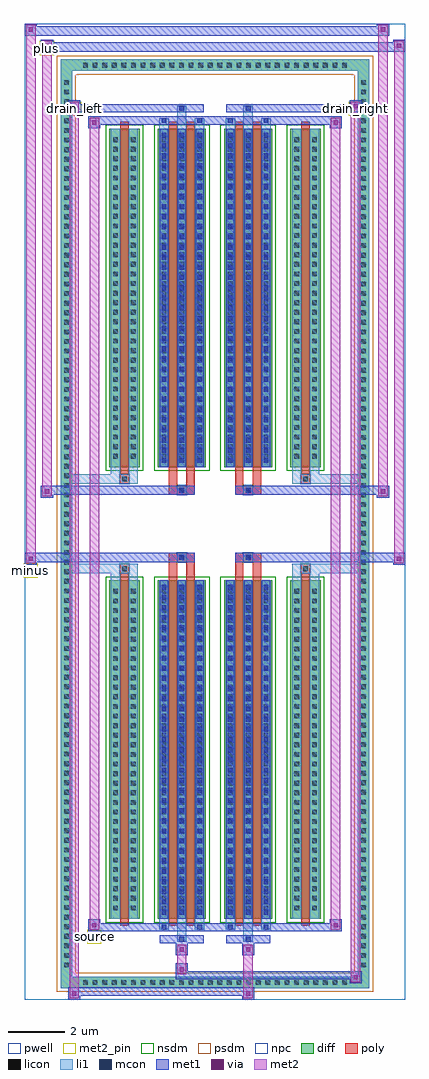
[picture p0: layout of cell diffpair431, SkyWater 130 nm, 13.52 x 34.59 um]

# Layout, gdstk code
import gdstk
lib = gdstk.Library(unit=1e-6, precision=5e-09)
def R(c, l, rs):  # rectangles x0, y0, x1, y1
    for r in rs: c.add(gdstk.rectangle(r[:2], r[2:], *l))
def A(c, l, x, y, w, h, nx, ny, dx, dy):  # array of equal rectangles
    R(c, l, [(x+i*dx, y+j*dy, x+i*dx+w, y+j*dy+h) for i in range(nx) for j in range(ny)])
def P(c, l, *ps):  # polygons
    for p in ps: c.add(gdstk.Polygon(p, *l))
pwell = (64, 44)
diff = (65, 20)
poly = (66, 20)
licon = (66, 44)
li1 = (67, 20)
mcon = (67, 44)
met1 = (68, 20)
via = (68, 44)
met2_pin = (69, 16)
met2 = (69, 20)
nsdm = (93, 44)
psdm = (94, 20)
npc = (95, 20)

diffpair431 = lib.new_cell('diffpair431')
R(diffpair431, pwell, [(-6.74,-16.86,6.74,17.73), (-4.06,-15.05,-0.01,-0.825), (0.01,-15.05,4.06,-0.825), (-4.06,0.825,-0.01,15.05), (0.01,0.825,4.06,15.05)])
A(diffpair431, diff, -4.795, -16.46, 0.41, 0.41, 28, 2, 0.34, 32.51)
A(diffpair431, diff, -5.47, -15.845, 0.41, 0.41, 1, 93, 0, 0.34)
A(diffpair431, diff, 5.06, -15.845, 0.41, 0.41, 1, 93, 0, 0.34)
R(diffpair431, diff, [(-4.795,-16.46,4.795,-16.05), (-5.47,-15.845,-5.06,15.845), (5.06,-15.845,5.47,15.845), (-3.75,-14.005,-2.67,-2.005), (-2.03,-14.005,-0.32,-2.005), (0.32,-14.005,2.03,-2.005), (2.67,-14.005,3.75,-2.005), (-3.75,2.005,-2.67,14.005), (-2.03,2.005,-0.32,14.005), (0.32,2.005,2.03,14.005), (2.67,2.005,3.75,14.005), (-4.795,16.05,4.795,16.46)])
P(diffpair431, diff, [(5.47,16.46),(-5.47,16.46),(-5.47,-16.05),(-5.06,-16.05),(-5.06,16.05),(5.06,16.05),(5.06,-16.05),(-5.06,-16.05),(-5.47,-16.05),(-5.47,-16.46),(5.47,-16.46)])
R(diffpair431, poly, [(-3.36,-14.255,-3.06,-1.755), (-1.64,-14.255,-1.34,-1.755), (-1.01,-14.255,-0.71,-1.755), (0.71,-14.255,1.01,-1.755), (1.34,-14.255,1.64,-1.755), (3.06,-14.255,3.36,-1.755), (-3.375,-1.755,-3.045,-1.425), (-3.375,-1.755,-3.045,-1.425), (-1.64,-1.755,-1.34,-1.355), (-1.01,-1.755,-0.71,-1.355), (0.71,-1.755,1.01,-1.355), (1.34,-1.755,1.64,-1.355), (3.045,-1.755,3.375,-1.425), (3.045,-1.755,3.375,-1.425), (-1.64,-1.355,-0.71,-1.025), (-1.34,-1.355,-1.01,-1.025), (0.71,-1.355,1.64,-1.025), (1.01,-1.355,1.34,-1.025), (-1.64,1.025,-0.71,1.355), (-1.34,1.025,-1.01,1.355), (0.71,1.025,1.64,1.355), (1.01,1.025,1.34,1.355), (-1.64,1.355,-1.34,1.755), (-1.01,1.355,-0.71,1.755), (0.71,1.355,1.01,1.755), (1.34,1.355,1.64,1.755), (-3.375,1.425,-3.045,1.755), (-3.375,1.425,-3.045,1.755), (3.045,1.425,3.375,1.755), (3.045,1.425,3.375,1.755), (-3.36,1.755,-3.06,14.255), (-1.64,1.755,-1.34,14.255), (-1.01,1.755,-0.71,14.255), (0.71,1.755,1.01,14.255), (1.34,1.755,1.64,14.255), (3.06,1.755,3.36,14.255)])
A(diffpair431, licon, -4.675, -16.34, 0.17, 0.17, 28, 2, 0.34, 32.51)
A(diffpair431, licon, -5.35, -15.725, 0.17, 0.17, 1, 93, 0, 0.34)
A(diffpair431, licon, 5.18, -15.725, 0.17, 0.17, 1, 93, 0, 0.34)
A(diffpair431, licon, -3.61, -13.7, 0.17, 0.17, 1, 34, 0, 0.34)
A(diffpair431, licon, -2.98, -13.7, 0.17, 0.17, 1, 34, 0, 0.34)
A(diffpair431, licon, -1.89, -13.7, 0.17, 0.17, 3, 34, 0.63, 0.34)
A(diffpair431, licon, 0.46, -13.7, 0.17, 0.17, 3, 34, 0.63, 0.34)
A(diffpair431, licon, 2.81, -13.7, 0.17, 0.17, 1, 34, 0, 0.34)
A(diffpair431, licon, 3.44, -13.7, 0.17, 0.17, 1, 34, 0, 0.34)
A(diffpair431, licon, -3.61, 2.31, 0.17, 0.17, 1, 34, 0, 0.34)
A(diffpair431, licon, -2.98, 2.31, 0.17, 0.17, 1, 34, 0, 0.34)
A(diffpair431, licon, -1.89, 2.31, 0.17, 0.17, 3, 34, 0.63, 0.34)
A(diffpair431, licon, 0.46, 2.31, 0.17, 0.17, 3, 34, 0.63, 0.34)
A(diffpair431, licon, 2.81, 2.31, 0.17, 0.17, 1, 34, 0, 0.34)
A(diffpair431, licon, 3.44, 2.31, 0.17, 0.17, 1, 34, 0, 0.34)
R(diffpair431, licon, [(-3.295,-1.675,-3.125,-1.505), (3.125,-1.675,3.295,-1.505), (-1.26,-1.275,-1.09,-1.105), (1.09,-1.275,1.26,-1.105), (-1.26,1.105,-1.09,1.275), (1.09,1.105,1.26,1.275), (-3.295,1.505,-3.125,1.675), (3.125,1.505,3.295,1.675)])
A(diffpair431, li1, -4.755, -16.42, 0.33, 0.33, 28, 2, 0.34, 32.51)
A(diffpair431, li1, -5.43, -15.805, 0.33, 0.33, 1, 93, 0, 0.34)
A(diffpair431, li1, 5.1, -15.805, 0.33, 0.33, 1, 93, 0, 0.34)
A(diffpair431, li1, -1.97, -14.005, 0.33, 12, 3, 2, 0.63, 16.01)
A(diffpair431, li1, 0.38, -14.005, 0.33, 12, 3, 2, 0.63, 16.01)
A(diffpair431, li1, -1.89, -13.85, 0.17, 0.17, 3, 33, 0.63, 0.36)
A(diffpair431, li1, -1.89, -13.85, 0.17, 11.69, 3, 2, 0.63, 16.01)
A(diffpair431, li1, 0.46, -13.85, 0.17, 0.17, 3, 33, 0.63, 0.36)
A(diffpair431, li1, 0.46, -13.85, 0.17, 11.69, 3, 2, 0.63, 16.01)
A(diffpair431, li1, -3.69, -13.78, 0.33, 0.33, 1, 34, 0, 0.34)
A(diffpair431, li1, -3.06, -13.78, 0.33, 0.33, 1, 34, 0, 0.34)
A(diffpair431, li1, -1.97, -13.78, 0.33, 0.33, 3, 34, 0.63, 0.34)
A(diffpair431, li1, 0.38, -13.78, 0.33, 0.33, 3, 34, 0.63, 0.34)
A(diffpair431, li1, 2.73, -13.78, 0.33, 0.33, 1, 34, 0, 0.34)
A(diffpair431, li1, 3.36, -13.78, 0.33, 0.33, 1, 34, 0, 0.34)
A(diffpair431, li1, -1.89, 2.16, 0.17, 0.17, 3, 33, 0.63, 0.36)
A(diffpair431, li1, 0.46, 2.16, 0.17, 0.17, 3, 33, 0.63, 0.36)
A(diffpair431, li1, -3.69, 2.23, 0.33, 0.33, 1, 34, 0, 0.34)
A(diffpair431, li1, -3.06, 2.23, 0.33, 0.33, 1, 34, 0, 0.34)
A(diffpair431, li1, -1.97, 2.23, 0.33, 0.33, 3, 34, 0.63, 0.34)
A(diffpair431, li1, 0.38, 2.23, 0.33, 0.33, 3, 34, 0.63, 0.34)
A(diffpair431, li1, 2.73, 2.23, 0.33, 0.33, 1, 34, 0, 0.34)
A(diffpair431, li1, 3.36, 2.23, 0.33, 0.33, 1, 34, 0, 0.34)
R(diffpair431, li1, [(-5.47,-16.46,-5.06,-16.05), (-5.47,-16.46,-5.06,-16.05), (-5.06,-16.46,5.06,-16.05), (5.06,-16.46,5.47,-16.05), (5.06,-16.46,5.47,-16.05), (-5.47,-16.05,-5.06,16.05), (5.06,-16.05,5.47,16.05), (-1.34,-14.81,-1.01,-14.005), (-1.26,-14.81,-1.09,-14.64), (1.01,-14.81,1.34,-14.005), (1.09,-14.81,1.26,-14.64), (-1.97,-14.38,-1.64,-14.005), (-1.89,-14.38,-1.72,-14.21), (-0.71,-14.38,-0.38,-14.005), (-0.63,-14.38,-0.46,-14.21), (0.38,-14.38,0.71,-14.005), (0.46,-14.38,0.63,-14.21), (1.64,-14.38,1.97,-14.005), (1.72,-14.38,1.89,-14.21), (-3.69,-14.005,-3.36,-2.005), (-3.06,-14.005,-2.73,-2.005), (2.73,-14.005,3.06,-2.005), (3.36,-14.005,3.69,-2.005), (-3.69,-2.005,-3.36,-1.425), (-3.06,-2.005,-2.73,-1.425), (2.73,-2.005,3.06,-1.425), (3.36,-2.005,3.69,-1.425), (-5.47,-1.755,-3.375,-1.425), (-3.69,-1.755,-3.375,-1.425), (-3.375,-1.755,-3.045,-1.425), (-3.045,-1.755,-2.73,-1.425), (2.73,-1.755,3.045,-1.425), (3.045,-1.755,3.375,-1.425), (3.045,-1.755,5.47,-1.425), (3.375,-1.755,3.69,-1.425), (-1.34,-1.355,-1.01,-1.025), (1.01,-1.355,1.34,-1.025), (-1.34,1.025,-1.01,1.355), (1.01,1.025,1.34,1.355), (-5.47,1.425,-3.375,1.755), (-3.69,1.425,-3.375,1.755), (-3.69,1.425,-3.36,2.005), (-3.375,1.425,-3.045,1.755), (-3.06,1.425,-2.73,2.005), (-3.045,1.425,-2.73,1.755), (2.73,1.425,3.045,1.755), (2.73,1.425,3.06,2.005), (3.045,1.425,3.375,1.755), (3.045,1.425,5.47,1.755), (3.36,1.425,3.69,2.005), (3.375,1.425,3.69,1.755), (-3.69,2.005,-3.36,14.005), (-3.06,2.005,-2.73,14.005), (2.73,2.005,3.06,14.005), (3.36,2.005,3.69,14.005), (-1.97,14.005,-1.64,14.38), (-1.34,14.005,-1.01,14.81), (-0.71,14.005,-0.38,14.38), (0.38,14.005,0.71,14.38), (1.01,14.005,1.34,14.81), (1.64,14.005,1.97,14.38), (-1.89,14.21,-1.72,14.38), (-0.63,14.21,-0.46,14.38), (0.46,14.21,0.63,14.38), (1.72,14.21,1.89,14.38), (-1.26,14.64,-1.09,14.81), (1.09,14.64,1.26,14.81), (-5.47,16.05,-5.06,16.46), (-5.47,16.05,-5.06,16.46), (-5.06,16.05,5.06,16.46), (5.06,16.05,5.47,16.46), (5.06,16.05,5.47,16.46)])
A(diffpair431, mcon, -1.89, -13.85, 0.17, 0.17, 3, 33, 0.63, 0.36)
A(diffpair431, mcon, 0.46, -13.85, 0.17, 0.17, 3, 33, 0.63, 0.36)
A(diffpair431, mcon, -1.89, 2.16, 0.17, 0.17, 3, 33, 0.63, 0.36)
A(diffpair431, mcon, 0.46, 2.16, 0.17, 0.17, 3, 33, 0.63, 0.36)
R(diffpair431, mcon, [(-1.26,-14.81,-1.09,-14.64), (1.09,-14.81,1.26,-14.64), (-1.89,-14.38,-1.72,-14.21), (-0.63,-14.38,-0.46,-14.21), (0.46,-14.38,0.63,-14.21), (1.72,-14.38,1.89,-14.21), (-1.26,-1.275,-1.09,-1.105), (1.09,-1.275,1.26,-1.105), (-1.26,1.105,-1.09,1.275), (1.09,1.105,1.26,1.275), (-1.89,14.21,-1.72,14.38), (-0.63,14.21,-0.46,14.38), (0.46,14.21,0.63,14.38), (1.72,14.21,1.89,14.38), (-1.26,14.64,-1.09,14.81), (1.09,14.64,1.26,14.81)])
A(diffpair431, met1, -1.95, -14.005, 0.29, 12, 3, 2, 0.63, 16.01)
A(diffpair431, met1, 0.4, -14.005, 0.29, 12, 3, 2, 0.63, 16.01)
A(diffpair431, met1, -1.95, -13.91, 0.29, 0.29, 3, 33, 0.63, 0.36)
A(diffpair431, met1, 0.4, -13.91, 0.29, 0.29, 3, 33, 0.63, 0.36)
A(diffpair431, met1, -1.95, 2.1, 0.29, 0.29, 3, 33, 0.63, 0.36)
A(diffpair431, met1, 0.4, 2.1, 0.29, 0.29, 3, 33, 0.63, 0.36)
R(diffpair431, met1, [(-5.2,-16.86,-4.77,-16.43), (0.96,-16.86,1.39,-16.43), (-5.2,-16.72,1.39,-16.43), (4.77,-16.29,5.2,-15.86), (-1.39,-16.15,5.2,-15.86), (-1.39,-16.01,-0.96,-15.58), (-1.39,-15.3,-0.96,-14.87), (0.96,-15.3,1.39,-14.87), (-1.95,-14.87,-0.4,-14.58), (-1.32,-14.87,-1.03,-14.58), (0.4,-14.87,1.95,-14.58), (1.03,-14.87,1.32,-14.58), (-4.49,-14.44,-4.06,-14.01), (-4.49,-14.44,-1.95,-14.15), (-1.95,-14.44,-1.66,-14.15), (-1.95,-14.44,-0.4,-14.15), (-0.69,-14.44,-0.4,-14.15), (-0.4,-14.44,0.4,-14.15), (0.4,-14.44,0.69,-14.15), (0.4,-14.44,1.95,-14.15), (1.66,-14.44,1.95,-14.15), (1.95,-14.44,4.49,-14.15), (4.06,-14.44,4.49,-14.01), (-6.74,-1.455,-6.31,-1.025), (6.31,-1.455,6.74,-1.025), (-6.74,-1.355,-0.71,-1.025), (-1.64,-1.355,-0.71,-1.025), (0.71,-1.355,1.64,-1.025), (0.71,-1.355,6.74,-1.025), (-1.32,-1.335,-1.03,-1.045), (1.03,-1.335,1.32,-1.045), (-6.17,0.925,-5.74,1.355), (5.74,0.925,6.17,1.355), (-6.17,1.025,-1.64,1.355), (-1.64,1.025,-0.71,1.355), (0.71,1.025,1.64,1.355), (1.64,1.025,6.17,1.355), (-1.32,1.045,-1.03,1.335), (1.03,1.045,1.32,1.335), (-4.49,14.01,-4.06,14.44), (4.06,14.01,4.49,14.44), (-4.49,14.15,-1.95,14.44), (-1.95,14.15,-1.66,14.44), (-1.95,14.15,-0.4,14.44), (-0.69,14.15,-0.4,14.44), (-0.4,14.15,0.4,14.44), (0.4,14.15,0.69,14.44), (0.4,14.15,1.95,14.44), (1.66,14.15,1.95,14.44), (1.95,14.15,4.49,14.44), (-5.2,14.58,-4.77,15.01), (-5.2,14.58,-1.95,14.87), (-1.95,14.58,-0.4,14.87), (-1.32,14.58,-1.03,14.87), (0.4,14.58,1.95,14.87), (1.03,14.58,1.32,14.87), (1.95,14.58,5.2,14.87), (4.77,14.58,5.2,15.01), (-6.17,16.73,-5.74,17.16), (-6.17,16.73,-4.06,17.06), (-4.06,16.73,4.06,17.06), (4.06,16.73,6.74,17.06), (6.31,16.73,6.74,17.16), (-6.74,17.3,-6.31,17.73), (-6.74,17.3,-4.06,17.63), (-4.06,17.3,4.06,17.63), (4.06,17.3,6.17,17.63), (5.74,17.3,6.17,17.73)])
R(diffpair431, via, [(-5.06,-16.72,-4.91,-16.57), (1.1,-16.72,1.25,-16.57), (4.91,-16.15,5.06,-16), (-1.25,-15.87,-1.1,-15.72), (-1.25,-15.16,-1.1,-15.01), (1.1,-15.16,1.25,-15.01), (-4.35,-14.3,-4.2,-14.15), (4.2,-14.3,4.35,-14.15), (-6.6,-1.315,-6.45,-1.165), (6.45,-1.315,6.6,-1.165), (-6.03,1.065,-5.88,1.215), (5.88,1.065,6.03,1.215), (-4.35,14.15,-4.2,14.3), (4.2,14.15,4.35,14.3), (-5.06,14.72,-4.91,14.87), (4.91,14.72,5.06,14.87), (-6.03,16.87,-5.88,17.02), (6.45,16.87,6.6,17.02), (-6.6,17.44,-6.45,17.59), (5.88,17.44,6.03,17.59)])
R(diffpair431, met2_pin, [(-4.525,-14.89,-4.025,-14.39), (-6.775,-1.905,-6.275,-1.405), (-5.235,14.46,-4.735,14.96), (4.735,14.46,5.235,14.96), (-6.205,16.61,-5.705,17.11)])
R(diffpair431, met2, [(-5.15,-16.81,-4.82,-16.48), (-5.15,-16.81,-4.82,14.96), (1.01,-16.81,1.34,-16.48), (1.01,-16.48,1.34,-15.25), (4.82,-16.24,5.15,-15.91), (4.82,-16.24,5.15,14.96), (-1.34,-15.96,-1.01,-15.63), (-1.34,-15.63,-1.01,-15.25), (-1.34,-15.25,-1.01,-14.92), (1.01,-15.25,1.34,-14.92), (-4.44,-14.39,-4.11,-14.06), (-4.44,-14.39,-4.11,14.39), (4.11,-14.39,4.44,-14.06), (4.11,-14.39,4.44,14.39), (-6.69,-1.405,-6.36,-1.075), (-6.69,-1.405,-6.36,17.68), (6.36,-1.405,6.69,-1.075), (6.36,-1.405,6.69,17.11), (-6.12,0.975,-5.79,1.305), (-6.12,0.975,-5.79,17.11), (5.79,0.975,6.12,1.305), (5.79,0.975,6.12,17.68), (-4.44,14.06,-4.11,14.39), (4.11,14.06,4.44,14.39), (-5.15,14.63,-4.82,14.96), (4.82,14.63,5.15,14.96), (-6.12,16.78,-5.79,17.11), (6.36,16.78,6.69,17.11), (-6.69,17.35,-6.36,17.68), (5.79,17.35,6.12,17.68)])
P(diffpair431, met2, [(6.69,-1.405),(6.69,-1.405),(6.69,-1.075),(6.69,-1.075)],
  [(6.69,16.78),(6.69,16.78),(6.69,17.11),(6.69,17.11)],
  [(-6.36,-1.405),(-6.36,-1.405),(-6.36,-1.075),(-6.36,-1.075)],
  [(-6.36,17.35),(-6.36,17.35),(-6.36,17.68),(-6.36,17.68)],
  [(6.12,0.975),(6.12,0.975),(6.12,1.305),(6.12,1.305)],
  [(6.12,17.35),(6.12,17.35),(6.12,17.68),(6.12,17.68)],
  [(-5.79,0.975),(-5.79,0.975),(-5.79,1.305),(-5.79,1.305)],
  [(-5.79,16.78),(-5.79,16.78),(-5.79,17.11),(-5.79,17.11)],
  [(-4.82,-16.81),(-4.82,-16.81),(-4.82,-16.48),(-4.82,-16.48)],
  [(-4.82,14.63),(-4.82,14.63),(-4.82,14.96),(-4.82,14.96)],
  [(5.15,-16.24),(5.15,-16.24),(5.15,-15.91),(5.15,-15.91)],
  [(5.15,14.63),(5.15,14.63),(5.15,14.96),(5.15,14.96)],
  [(-4.11,-14.39),(-4.11,-14.39),(-4.11,-14.06),(-4.11,-14.06)],
  [(-4.11,14.06),(-4.11,14.06),(-4.11,14.39),(-4.11,14.39)],
  [(4.44,-14.39),(4.44,-14.39),(4.44,-14.06),(4.44,-14.06)],
  [(4.44,14.06),(4.44,14.06),(4.44,14.39),(4.44,14.39)])
R(diffpair431, nsdm, [(-3.88,-14.135,-2.54,-1.875), (-2.16,-14.135,-0.19,-1.875), (0.19,-14.135,2.16,-1.875), (2.54,-14.135,3.88,-1.875), (-3.88,1.875,-2.54,14.135), (-2.16,1.875,-0.19,14.135), (0.19,1.875,2.16,14.135), (2.54,1.875,3.88,14.135)])
P(diffpair431, psdm, [(5.6,16.59),(-5.6,16.59),(-5.6,-15.92),(-4.93,-15.92),(-4.93,15.92),(4.93,15.92),(4.93,-15.92),(-4.93,-15.92),(-5.6,-15.92),(-5.6,-16.59),(5.6,-16.59)])
R(diffpair431, npc, [(-3.395,-1.775,-3.025,-1.405), (3.025,-1.775,3.395,-1.405), (-1.36,-1.375,-0.99,-1.005), (0.99,-1.375,1.36,-1.005), (-1.36,1.005,-0.99,1.375), (0.99,1.005,1.36,1.375), (-3.395,1.405,-3.025,1.775), (3.025,1.405,3.395,1.775)])
diffpair431.add(gdstk.Label('minus', (-6.525,-1.655), layer=69, texttype=5))
diffpair431.add(gdstk.Label('drain_right', (4.985,14.71), layer=69, texttype=5))
diffpair431.add(gdstk.Label('drain_left', (-4.985,14.71), layer=69, texttype=5))
diffpair431.add(gdstk.Label('source', (-4.275,-14.64), layer=69, texttype=5))
diffpair431.add(gdstk.Label('plus', (-5.955,16.86), layer=69, texttype=5))

lib.write_gds('diffpair431.gds')
